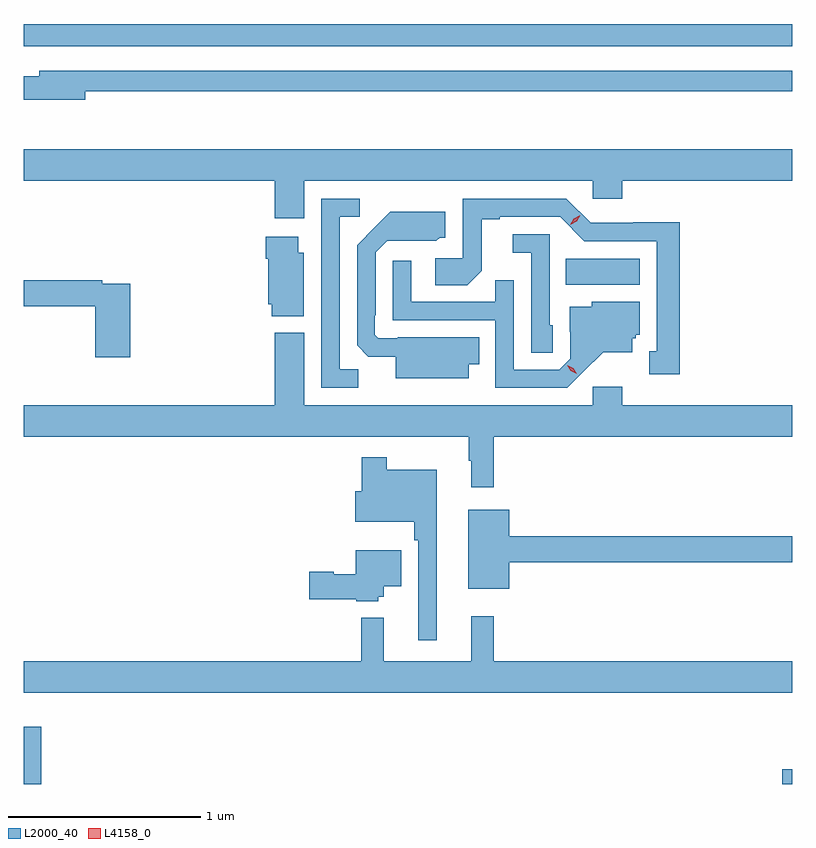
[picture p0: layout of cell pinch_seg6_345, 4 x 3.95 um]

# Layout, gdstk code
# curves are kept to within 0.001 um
import gdstk
lib = gdstk.Library(unit=1e-6, precision=1e-09)
def R(c, l, rs):  # rectangles x0, y0, x1, y1
    for r in rs: c.add(gdstk.rectangle(r[:2], r[2:], *l))
def P(c, l, *ps):  # polygons
    for p in ps: c.add(gdstk.Polygon(p, *l))
L2000_40 = (2000, 40)
L4158_0 = (4158, 0)

pinch_seg6_345 = lib.new_cell('pinch_seg6_345')
R(pinch_seg6_345, L2000_40, [(735.056,936.206,735.149,936.505), (739.002,936.206,739.056,936.282), (737.878,938.804,738.262,938.938), (735.056,940.044,739.056,940.16)])
P(pinch_seg6_345, L2000_40, [(735.376,939.81),(739.056,939.81),(739.056,939.918),(735.137,939.918),(735.137,939.889),(735.056,939.889),(735.056,939.767),(735.376,939.767)],
  [(736.516,939.344),(738.018,939.344),(738.018,939.251),(738.17,939.251),(738.17,939.344),(739.056,939.344),(739.056,939.508),(735.056,939.508),(735.056,939.344),(736.364,939.344),(736.364,939.15),(736.516,939.15)],
  [(738.469,939.128),(738.228,939.128),(738.228,939.126),(738.006,939.126),(737.88,939.252),(737.34,939.252),(737.34,938.94),(737.199,938.94),(737.199,938.8),(737.363,938.8),(737.439,938.876),(737.439,939.144),(737.533,939.144),(737.533,939.156),(737.847,939.156),(737.973,939.03),(738.35,939.03),(738.35,938.457),(738.311,938.457),(738.311,938.337),(738.469,938.337)],
  [(736.797,938.363),(736.701,938.363),(736.701,939.156),(736.804,939.156),(736.804,939.252),(736.605,939.252),(736.605,938.268),(736.797,938.268)],
  [(737.371,938.39),(737.426,938.39),(737.426,938.53),(737.002,938.53),(737.002,938.526),(736.902,938.526),(736.884,938.544),(736.884,938.644),(736.887,938.644),(736.887,938.973),(736.947,939.033),(737.204,939.032),(737.22,939.048),(737.251,939.048),(737.251,939.184),(736.963,939.184),(736.791,939.01),(736.791,938.488),(736.85,938.429),(736.991,938.429),(736.991,938.318),(737.371,938.318)],
  [(737.808,938.592),(737.793,938.592),(737.793,939.066),(737.601,939.066),(737.601,938.969),(737.697,938.969),(737.697,938.449),(737.808,938.449)],
  [(736.513,938.97),(736.486,938.97),(736.486,939.052),(736.316,939.052),(736.316,938.939),(736.328,938.939),(736.328,938.703),(736.346,938.703),(736.346,938.639),(736.513,938.639)],
  [(737.968,938.351),(738.071,938.453),(738.223,938.453),(738.223,938.526),(738.24,938.526),(738.24,938.544),(738.262,938.544),(738.262,938.716),(738.012,938.716),(738.012,938.689),(737.897,938.689),(737.897,938.56),(737.901,938.56),(737.901,938.418),(737.844,938.361),(737.607,938.361),(737.607,938.828),(737.509,938.828),(737.509,938.715),(737.073,938.715),(737.073,938.929),(736.977,938.929),(736.977,938.619),(737.511,938.619),(737.511,938.268),(737.884,938.268)],
  [(735.611,938.808),(735.464,938.808),(735.464,938.828),(735.056,938.828),(735.056,938.692),(735.428,938.692),(735.428,938.427),(735.611,938.427)],
  [(737.501,938.012),(739.056,938.012),(739.056,938.176),(738.17,938.176),(738.17,938.272),(738.018,938.272),(738.018,938.176),(736.516,938.176),(736.516,938.554),(736.364,938.554),(736.364,938.176),(735.056,938.176),(735.056,938.012),(737.373,938.012),(737.373,937.889),(737.384,937.889),(737.384,937.749),(737.501,937.749)],
  [(737.206,937.84),(736.945,937.84),(736.945,937.906),(736.816,937.906),(736.816,937.729),(736.782,937.729),(736.782,937.571),(737.089,937.571),(737.089,937.475),(737.109,937.475),(737.109,936.954),(737.206,936.954)],
  [(737.584,937.36),(739.056,937.36),(739.056,937.496),(737.584,937.496),(737.584,937.633),(737.369,937.633),(737.369,937.223),(737.584,937.223)],
  [(736.902,937.179),(736.93,937.179),(736.93,937.235),(737.02,937.235),(737.02,937.423),(736.784,937.423),(736.784,937.297),(736.671,937.297),(736.671,937.31),(736.542,937.31),(736.542,937.168),(736.788,937.168),(736.788,937.157),(736.902,937.157)],
  [(739.056,936.844),(737.501,936.844),(737.501,937.078),(737.384,937.078),(737.384,936.844),(736.931,936.844),(736.931,937.072),(736.813,937.072),(736.813,936.844),(735.056,936.844),(735.056,936.68),(739.056,936.68)])
P(pinch_seg6_345, L4158_0, [(737.901,939.115),(737.901,939.115),(737.919,939.148),(737.951,939.166),(737.951,939.166),(737.951,939.166),(737.933,939.134),(737.901,939.115)],
  [(737.933,938.34),(737.902,938.355),(737.885,938.385),(737.885,938.385),(737.885,938.385),(737.916,938.37),(737.933,938.341),(737.933,938.34)])

lib.write_gds('pinch_seg6_345.gds')
